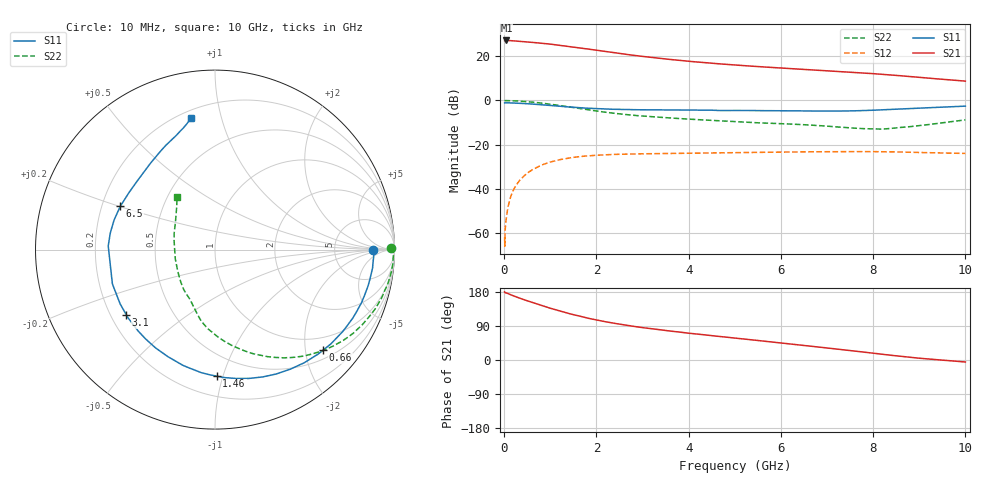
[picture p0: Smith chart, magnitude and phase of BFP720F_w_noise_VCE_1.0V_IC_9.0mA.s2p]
! Infineon Technologies  Discrete & RF Semiconductors
! BFP720F
! VCE =  1.0 V,  IC =  9.0 mA
! Common Emitter S-Parameters:  Jan 2016
# GHz  S  MA  R  50
!  f  S11  S21  S12  S22
! GHz  MAG  ANG  MAG  ANG  MAG  ANG  MAG  ANG
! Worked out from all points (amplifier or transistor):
!   233 points, 10 MHz to 10 GHz, reference 50 ohm
!   highest |S21| = 27.2 dB at 50 MHz (marker M1)
!   |S21| within 3 dB of that: start of sweep to 1.513 GHz
!   unconditionally stable (mu >= 1): start of sweep to 11.52 MHz; 7.12 GHz to end of sweep
!   at 200 MHz: K = 0.05, MSG = 33.8 dB, |S12| = -40.6 dB
!   at 1.74 GHz: K = 0.29, MSG = 24.4 dB, |S12| = -25.2 dB
!   at 10 GHz: K = 1.31, MAG = 13.1 dB, |S12| = -24.0 dB
!   lowest NFmin = 0.52 dB at 450 MHz
!   S11 on the Smith chart (normalised r, x): 10 MHz: 16, -1; 660 MHz: 0.69, -2.38; 1.46 GHz: 0.34, -0.95; 3.1 GHz: 0.26, -0.31; 6.5 GHz: 0.28, +0.20; 10 GHz: 0.25, +0.80
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0.01  0.8801 -0.3  22.79 179.7  0.0008 -25.5  0.9785 0.6
0.015  0.8833 -0.8  22.71 178.7  0.0005 49.3  0.9868 -0.4
0.02  0.8866 -1.2  22.65 177.6  0.0011 93.9  0.9954 -1.4
0.05  0.8836 -3.5  22.91 177.1  0.0023 83.1  0.9939 -2.2
0.17  0.8782 -11.4  22.54 170.8  0.0079 83.5  0.9888 -7.8
0.34  0.8635 -22.5  21.82 163.0  0.0156 77.2  0.9683 -15.5
0.66  0.8225 -42.9  20.49 149.8  0.0288 65.4  0.908 -29.5
0.8  0.8028 -51.8  19.98 144.2  0.0339 60.8  0.8762 -35.2
1  0.7725 -63.8  18.92 136.6  0.0402 54.2  0.8231 -43.2
1.22  0.7388 -76.3  17.75 128.8  0.0459 47.8  0.7631 -51.3
1.46  0.7058 -89.2  16.48 120.9  0.0507 41.5  0.6988 -59.4
1.68  0.6797 -100.3  15.37 114.2  0.0541 36.5  0.6439 -66.4
2  0.6516 -113.8  13.78 105.6  0.0575 30.3  0.5761 -75.3
2.4  0.631 -127.4  12.01 96.6  0.06 24.0  0.5107 -84.6
3.1  0.6134 -143.7  9.707 84.0  0.0621 16.8  0.4367 -96.0
3.4  0.6093 -148.6  8.945 79.4  0.0627 14.5  0.4147 -99.4
4  0.6034 -156.5  7.728 70.7  0.0637 10.7  0.3776 -104.7
5.1  0.5936 176.6  6.258 56.6  0.0659 5.3  0.3281 -112.8
6.5  0.5802 155.4  5.073 38.4  0.0686 -1.4  0.2834 -127.8
6.8  0.5754 150.0  4.849 34.4  0.0689 -3.0  0.2701 -133.0
8.4  0.6281 118.6  3.771 12.3  0.0685 -11.7  0.2333 167.7
10  0.7442 100.3  2.746 -5.3  0.0631 -16.3  0.3635 125.6
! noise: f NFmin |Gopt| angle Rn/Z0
0.45  0.52  0.33  4  0.18
0.9  0.55  0.31  9  0.15
1.8  0.6  0.29  15  0.14
2.4  0.63  0.26  25  0.14
5.5  0.77  0.25  48  0.08
10  0.99  0.27  -94  0.17
